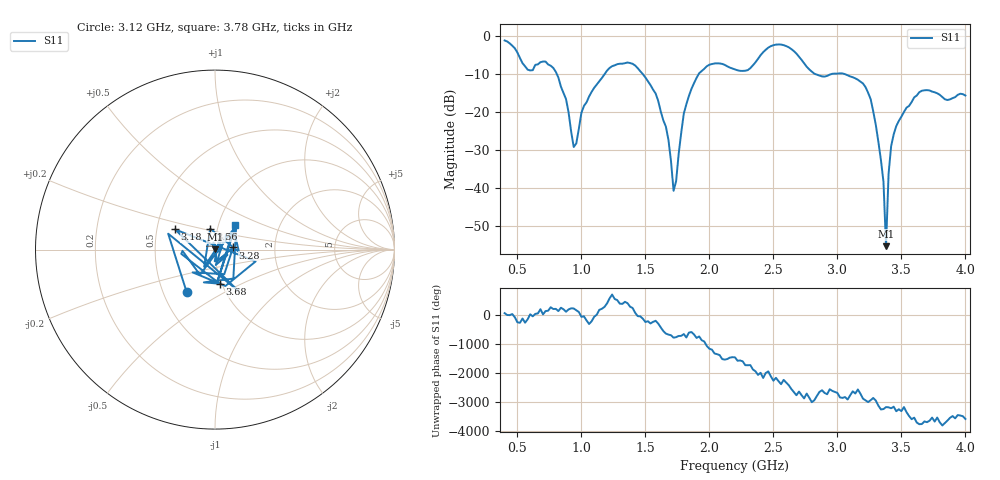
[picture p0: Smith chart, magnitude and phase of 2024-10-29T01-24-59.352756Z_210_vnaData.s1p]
!Created with skrf (http://scikit-rf.org).
# Hz S RI R 50.0
!freq ReS11 ImS11
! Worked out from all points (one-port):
!   181 points, 400 MHz to 4 GHz, reference 50 ohm
!   lowest |S11| = -55.4 dB at 3.38 GHz (marker M1), VSWR 1.00, Z = 50.1 + j0.134 ohm
!   |S11| at or under -10 dB: 807 MHz to 1.183 GHz (376.1 MHz wide, 37.8 % of centre); 1.478 GHz to 1.917 GHz (439.4 MHz wide, 25.9 % of centre); 3.051 GHz to end of sweep (the widest 3 of 4)
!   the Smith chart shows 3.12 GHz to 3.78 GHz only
!   S11 on the Smith chart (normalised r, x): 3.12 GHz: 0.66, -0.34; 3.18 GHz: 0.62, +0.15; 3.28 GHz: 1.22, +0.03; 3.56 GHz: 0.92, +0.22; 3.68 GHz: 0.98, -0.39; 3.78 GHz: 1.20, +0.34
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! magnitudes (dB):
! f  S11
! 400 MHz  -1.2
! 580 MHz  -8.9
! 780 MHz  -8.4
! 860 MHz  -15.0
! 940 MHz  -29.3
! 1.08 GHz  -14.7
! 1.3 GHz  -7.3
! 1.58 GHz  -15.2
! 1.68 GHz  -27.4
! 1.72 GHz  -40.8
! 1.76 GHz  -31.1
! 1.8 GHz  -20.5
! 1.92 GHz  -9.8
! 2.2 GHz  -8.8
! 2.66 GHz  -4.0
! 2.82 GHz  -10.0
! 3.1 GHz  -10.7
! 3.12 GHz  -10.9
! 3.18 GHz  -12.0
! 3.28 GHz  -19.9
! 3.36 GHz  -38.5
! 3.38 GHz  -55.4
! 3.4 GHz  -36.3
! 3.42 GHz  -29.0
! 3.56 GHz  -18.4
! 3.68 GHz  -14.3
! 3.78 GHz  -15.1
! 4 GHz  -15.7
